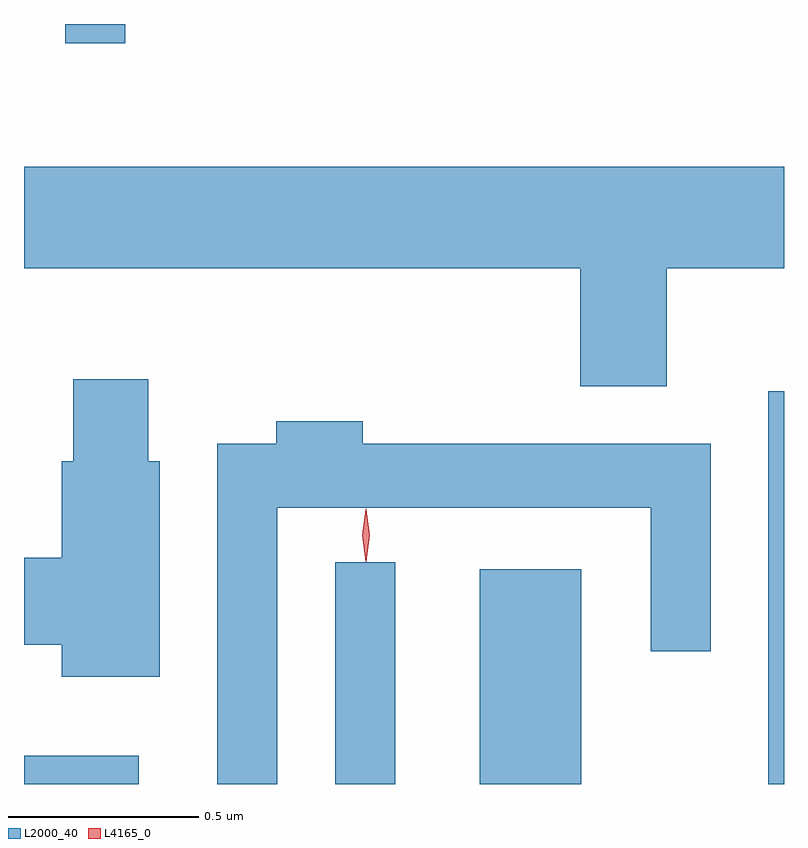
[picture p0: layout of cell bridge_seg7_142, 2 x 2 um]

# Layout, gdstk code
import gdstk
lib = gdstk.Library(unit=1e-6, precision=1e-09)
def R(c, l, rs):  # rectangles x0, y0, x1, y1
    for r in rs: c.add(gdstk.rectangle(r[:2], r[2:], *l))
def P(c, l, *ps):  # polygons
    for p in ps: c.add(gdstk.Polygon(p, *l))
L2000_40 = (2000, 40)
L4165_0 = (4165, 0)

bridge_seg7_142 = lib.new_cell('bridge_seg7_142')
R(bridge_seg7_142, L2000_40, [(1479.827,1706.299,1480.129,1706.374), (1480.646,1706.299,1480.804,1706.883), (1481.026,1706.299,1481.294,1706.864), (1481.786,1706.299,1481.827,1707.333), (1479.936,1708.248,1480.094,1708.299)])
P(bridge_seg7_142, L2000_40, [(1481.519,1707.656),(1481.827,1707.656),(1481.827,1707.924),(1479.827,1707.924),(1479.827,1707.656),(1481.291,1707.656),(1481.291,1707.346),(1481.519,1707.346)],
  [(1480.184,1707.149),(1480.154,1707.149),(1480.154,1707.364),(1479.956,1707.364),(1479.956,1707.149),(1479.926,1707.149),(1479.926,1706.894),(1479.827,1706.894),(1479.827,1706.666),(1479.926,1706.666),(1479.926,1706.581),(1480.184,1706.581)],
  [(1480.494,1707.026),(1481.476,1707.026),(1481.476,1706.648),(1481.634,1706.648),(1481.634,1707.194),(1480.719,1707.194),(1480.719,1707.254),(1480.491,1707.254),(1480.491,1707.194),(1480.336,1707.194),(1480.336,1706.299),(1480.494,1706.299)])
P(bridge_seg7_142, L4165_0, [(1480.726,1706.884),(1480.717,1706.953),(1480.726,1707.022),(1480.727,1707.023),(1480.727,1707.022),(1480.737,1706.953),(1480.727,1706.884),(1480.727,1706.884)])

lib.write_gds('bridge_seg7_142.gds')
